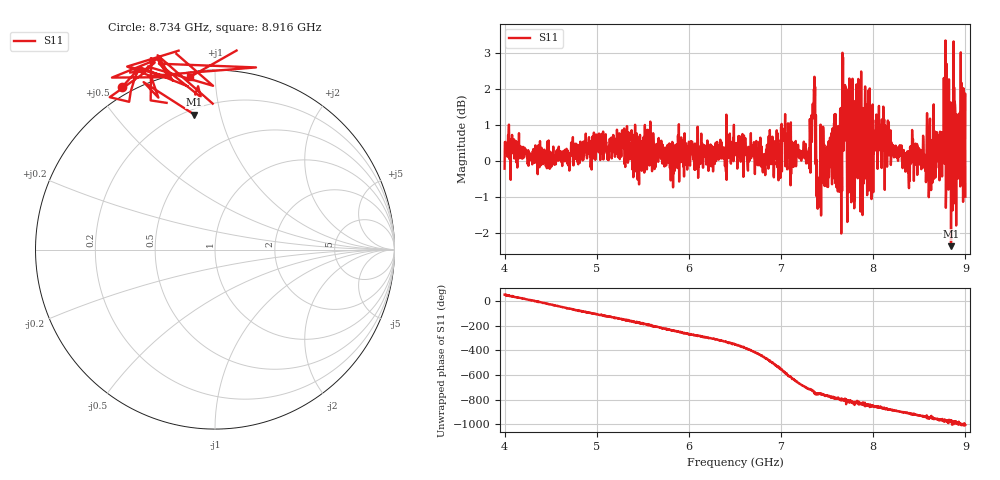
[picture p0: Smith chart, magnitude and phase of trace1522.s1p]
! Created with skrf 1.8.0 (http://scikit-rf.org).
# Hz S RI R 50.0
!freq ReS11 ImS11
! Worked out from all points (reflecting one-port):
!   1601 points, 4 GHz to 9 GHz, reference 50 ohm
!   lowest |S11| = -2.4 dB at 8.844 GHz (marker M1), VSWR 7.38, Z = 11.6 + j41.6 ohm
!   phase of S11 starts at 51 deg and turns -1056 deg over the sweep
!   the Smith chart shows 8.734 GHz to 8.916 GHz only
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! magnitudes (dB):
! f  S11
! 4 GHz  -0.2
! 4.031 GHz  0.1
! 4.625 GHz  -0.1
! 5.25 GHz  0.1
! 5.875 GHz  0.0
! 6.5 GHz  0.4
! 6.806 GHz  0.1
! 7.025 GHz  0.9
! 7.125 GHz  0.2
! 7.294 GHz  -0.1
! 7.347 GHz  1.2
! 7.409 GHz  -1.0
! 7.462 GHz  0.3
! 7.638 GHz  0.5
! 7.688 GHz  1.4
! 7.75 GHz  0.6
! 7.784 GHz  -0.1
! 7.844 GHz  0.0
! 7.981 GHz  -1.1
! 8.119 GHz  1.2
! 8.375 GHz  -0.2
! 8.625 GHz  -0.2
! 8.788 GHz  -1.3
! 8.816 GHz  -0.8
! 8.844 GHz  -2.4
! 8.897 GHz  1.1
! 8.972 GHz  1.1
! 9 GHz  -1.0
